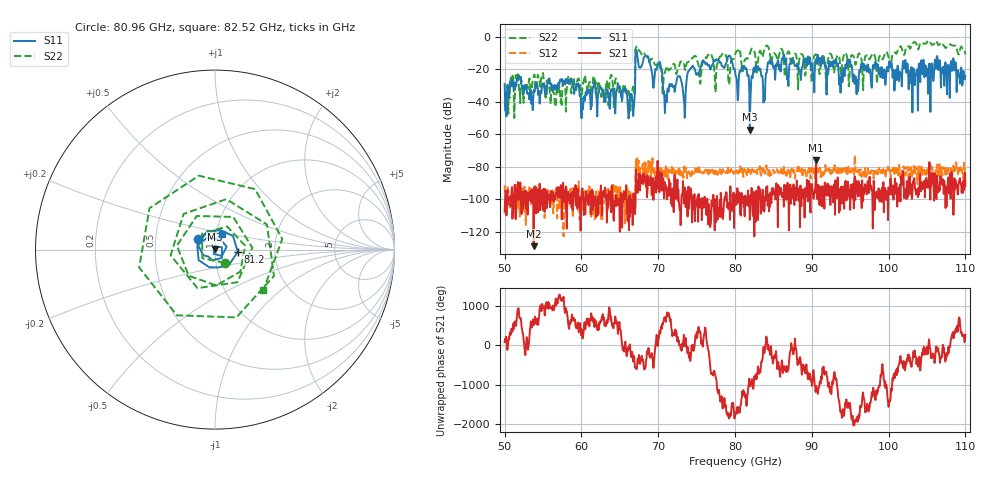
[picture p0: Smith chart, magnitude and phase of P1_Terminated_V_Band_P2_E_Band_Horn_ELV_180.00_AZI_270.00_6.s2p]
! 11/26/2026 10:35:42 AM
! C:\ANRITSUVNA\TEMP\TEMP.S2P
! CHANNEL.1
! TR.MEASUREMENT
! RAW.DATA
# HZ S RI R 50.0
! FREQ.HZ  S11RE  S11IM  S21RE  S21IM  S12RE  S12IM  S22RE  S22IM
!; PortSelection: Port_12
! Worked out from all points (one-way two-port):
!   1001 points, 50 GHz to 110 GHz, reference 50 ohm
!   highest |S21| = -76.03 dB at 90.56 GHz (marker M1); lowest = -128.9 dB at 53.78 GHz (marker M2)
!   lowest |S11| = -57.1 dB at 81.92 GHz (marker M3), VSWR 1.00, Z = 49.9 + j0.115 ohm
!   |S11| at or under -10 dB: start of sweep to 67.04 GHz; 67.24 GHz to end of sweep
!   |S22| runs from -50.0 to -2.3 dB; largest |S21 - S12| = 0.00026
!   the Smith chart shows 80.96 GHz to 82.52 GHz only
!   S11 on the Smith chart (normalised r, x): 80.96 GHz: 0.82, +0.10; 81.2 GHz: 1.29, -0.03; 82.52 GHz: 1.06, +0.19
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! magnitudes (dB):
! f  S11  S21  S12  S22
! 50 GHz  -29.2  -107.7  -91.5  -34.0
! 51.86 GHz  -23.9  -93.4  -98.6  -31.5
! 53.78 GHz  -33.4  -128.9  -100.5  -24.9
! 58.46 GHz  -26.7  -100.0  -95.5  -24.6
! 60.02 GHz  -50.2  -96.4  -105.9  -38.8
! 66.44 GHz  -35.4  -105.1  -97.3  -40.5
! 67.34 GHz  -13.7  -96.0  -80.8  -6.6
! 70.04 GHz  -17.4  -93.5  -81.7  -16.1
! 71.06 GHz  -39.0  -93.6  -86.3  -19.2
! 75.92 GHz  -15.5  -105.3  -83.1  -14.4
! 80 GHz  -21.0  -101.2  -82.6  -11.4
! 80.96 GHz  -19.0  -101.3  -84.1  -20.8
! 81.2 GHz  -17.9  -102.4  -81.4  -15.4
! 81.92 GHz  -57.1  -112.6  -82.2  -10.8
! 82.52 GHz  -20.5  -122.8  -82.7  -9.1
! 90.02 GHz  -16.7  -90.7  -82.8  -27.1
! 90.56 GHz  -15.1  -76.0  -77.4  -10.9
! 93.8 GHz  -28.9  -92.2  -83.8  -23.2
! 94.88 GHz  -14.2  -97.2  -84.9  -28.0
! 95.78 GHz  -29.3  -96.0  -83.0  -16.0
! 100 GHz  -16.3  -94.0  -81.0  -13.4
! 110 GHz  -24.3  -91.5  -82.1  -11.0
